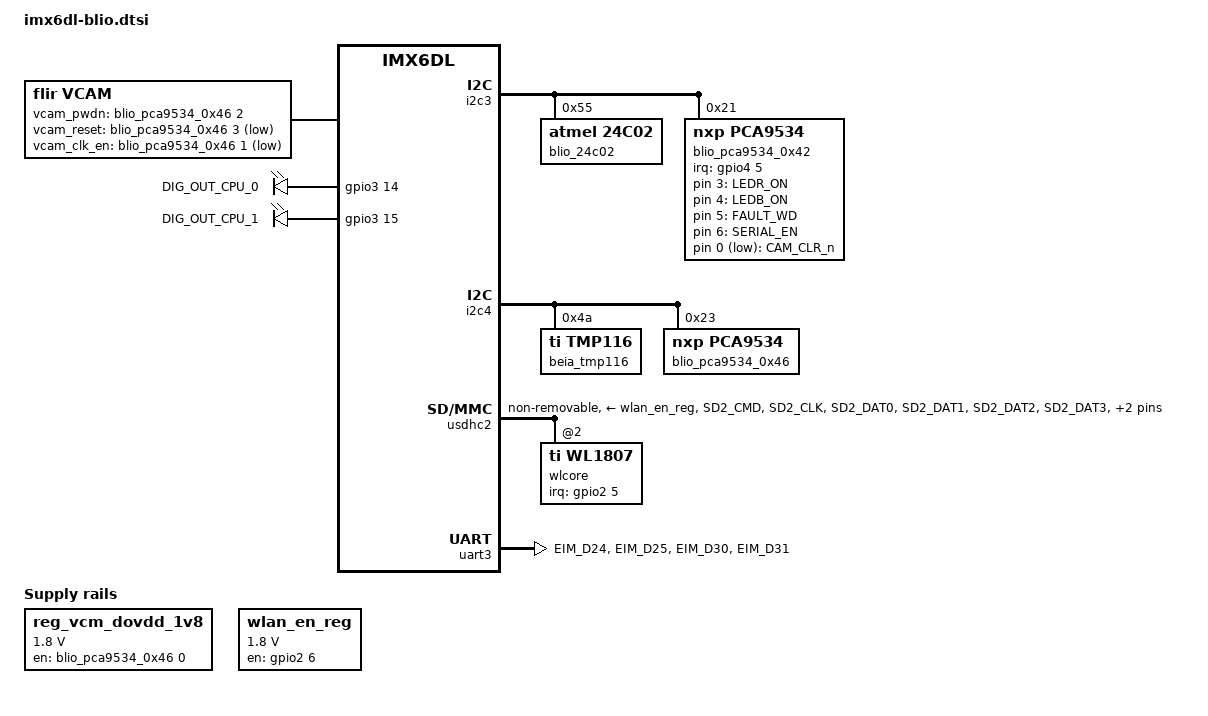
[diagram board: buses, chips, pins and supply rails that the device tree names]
/*
 * Copyright 2018 FLIR Systems.
 *
 * The code contained herein is licensed under the GNU General Public
 * License. You may obtain a copy of the GNU General Public License
 * Version 2 or later at the following locations:
 *
 * http://www.opensource.org/licenses/gpl-license.html
 * http://www.gnu.org/copyleft/gpl.html
 */

#include <dt-bindings/input/input.h>
/* This file represents blio-a */

/ {
	vcam {
		compatible = "flir,vcam";
		vcam_pwdn-gpio = <&blio_pca9534_0x46 2 GPIO_ACTIVE_HIGH>;
		vcam_reset-gpio = <&blio_pca9534_0x46 3 GPIO_ACTIVE_LOW>;
		vcam_clk_en-gpio = <&blio_pca9534_0x46 1 GPIO_ACTIVE_LOW>;
		flip-image;
		/*dvdd-supply = <&reg_vcm_dovdd_1v8>;
		  avdd-supply = <&reg_vcm_avdd_2v8>;*/
		flipped_sensor = <0>;
	};

	regulators {
		compatible = "simple-bus";

	        reg_vcm_dovdd_1v8: reg_vcm_dovdd_1v8 {
			compatible = "regulator-fixed";
			regulator-name = "VCM_DOVDD";
			regulator-min-microvolt = <1800000>;
			regulator-max-microvolt = <1800000>;
			gpio = <&blio_pca9534_0x46 0 GPIO_ACTIVE_HIGH>;
			enable-active-high;
		};
		
		wlan_en_reg: wlan_en_reg {
			compatible = "regulator-fixed";
			regulator-name = "wlan-en";
			regulator-min-microvolt = <1800000>;
			regulator-max-microvolt = <1800000>;
			gpio = <&gpio2 6 GPIO_ACTIVE_HIGH>;
			startup-delay-us = <70000>;
			enable-active-high;
		};
	};

	/* DIG_OUT */
	dig-out {
		compatible = "gpio-leds";

		ledr_on {
			label = "LEDR_ON";
			gpios = <&blio_pca9534_0x42 3 GPIO_ACTIVE_HIGH>;
			default-state = "off";
		};

		ledb_on {
			label = "LEDB_ON";
			gpios = <&blio_pca9534_0x42 4 GPIO_ACTIVE_HIGH>;
			default-state = "off";
			linux,default-trigger = "heartbeat";
		};

		fault_wd {
			label = "FAULT_WD";
			gpios = <&blio_pca9534_0x42 5 GPIO_ACTIVE_HIGH>;
			default-state = "off";
		};

		serial_en {
			label = "SERIAL_EN";
			gpios = <&blio_pca9534_0x42 6 GPIO_ACTIVE_HIGH>;
			default-state = "off";
		};

		// TEMPORARY definition for DIG_OUT_CPU
		// Should be handled by who? should be defined by -ec501.dtsi!
		dig_out_cpu_0 {
			label = "DIG_OUT_CPU_0";
			gpios = <&gpio3 14 GPIO_ACTIVE_HIGH>;
			default-state = "off";
		};

		dig_out_cpu_1 {
			label = "DIG_OUT_CPU_1";
			gpios = <&gpio3 15 GPIO_ACTIVE_HIGH>;
			default-state = "off";
		};
	};

	/* DIG_IN */
	dig-in {
		compatible = "gpio-keys";

		cam_clr {
			label = "CAM_CLR_n";
			gpios = <&blio_pca9534_0x42 0 GPIO_ACTIVE_LOW>;
			linux,input-type = <5>; /* EV_SW */
			linux,code = <2>;
			debounce-interval = <5>;
		};
	};
};

&i2c3 {
	/* ID-EEPROM */
	blio_24c02: blio_24c02@55 {
		compatible = "atmel,24c02";
		reg = <0x55>;
		pagesize = <16>;
	};

	/* I/O Expander */
	blio_pca9534_0x42: blio_pca9534_0x42@21 {
		compatible = "nxp,pca9534";
		reg = <0x21>;
		gpio-controller;
		interrupt-parent = <&gpio4>; //I2C3_ALERT_n
		interrupts = <5 0x2>;
		interrupt-controller;
		interrupts-shared;
		#interrupt-cells = <2>;
		#gpio-cells = <2>;
		//B0 CAM_CLR_n input
		//B3 LEDR_ON output
		//B4 LEDB_ON output
		//B5 FAULT_WD output
		//B6 SERIAL_EN output
	};
};

&i2c4 {
	/* TempSensor */
	beia_tmp116: beia_tmp116@4a {
		compatible = "ti,tmp116";
		reg = <0x4a>;
	};
	
	/* I/O Expander */
	blio_pca9534_0x46: blio_pca9534_0x46@23 {
		compatible = "nxp,pca9534";
		reg = <0x23>;
		gpio-controller;
                #gpio-cells = <2>;
		//B0 VCM_DOVDD_EN output
		//B1 VCM_CLK_EN output
		//B2 VCM_PWDN output
		//B3 VCM_RESET_n output
	};
};

/* Wi-Fi */
&usdhc2 {
	pinctrl-names = "default";
	pinctrl-0 = <&pinctrl_usdhc2>;
	vmmc-supply = <&wlan_en_reg>;
	non-removable;
	no-1-8-v;
	keep-power-in-suspend;
	max-frequency = <25000000>;
	status = "okay";
	#address-cells = <1>;
	#size-cells = <0>;

	wlcore: wlcore@2 {
		compatible = "ti,wl1807";
		reg = <2>;
		interrupt-parent = <&gpio2>;
		interrupts = <5 IRQ_TYPE_LEVEL_HIGH>;
		platform-quirks = <1>;
	};
};

/* RS232/RS485 */
&uart3 {
	pinctrl-names = "default";
	pinctrl-0 = <&pinctrl_uart3>;
	status = "okay";
	flir,rs485-enable-gpios = <&gpio3 31 GPIO_ACTIVE_HIGH>;
	flir,rs485-txen-gpios = <&gpio3 30 GPIO_ACTIVE_HIGH>;
	flir,rs485-gpio-delays = <0 0 2>;  // txen on/txen off/enable switch delay (ms)
	//flir,rs485-gpio-delays = <2 1 2>;  // BEIA rev A
	linux,rs485-enabled-at-boot-time;
};

&iomuxc {
	imx6dl-ec {
		pinctrl_usdhc2: usdhc2grp {
			fsl,pins = <
				/* Use 22 kohm pull up on SD signals */
				MX6QDL_PAD_SD2_CMD__SD2_CMD		0x1f020
				MX6QDL_PAD_SD2_CLK__SD2_CLK		0x10020
				MX6QDL_PAD_SD2_DAT0__SD2_DATA0		0x1f020
				MX6QDL_PAD_SD2_DAT1__SD2_DATA1		0x1f020
				MX6QDL_PAD_SD2_DAT2__SD2_DATA2		0x1f020
				MX6QDL_PAD_SD2_DAT3__SD2_DATA3		0x1f020
				MX6QDL_PAD_NANDF_D6__GPIO2_IO06		0x40000010
				MX6QDL_PAD_NANDF_D5__GPIO2_IO05		0x1b010
			>;
		};

		pinctrl_uart3: uart3grp {
			fsl,pins = <
				MX6QDL_PAD_EIM_D24__UART3_TX_DATA	0x1b0b1
				MX6QDL_PAD_EIM_D25__UART3_RX_DATA	0x1b0b1
				MX6QDL_PAD_EIM_D30__GPIO3_IO30		0x40000010
				MX6QDL_PAD_EIM_D31__GPIO3_IO31		0x40000010
			>;
		};
	};
};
